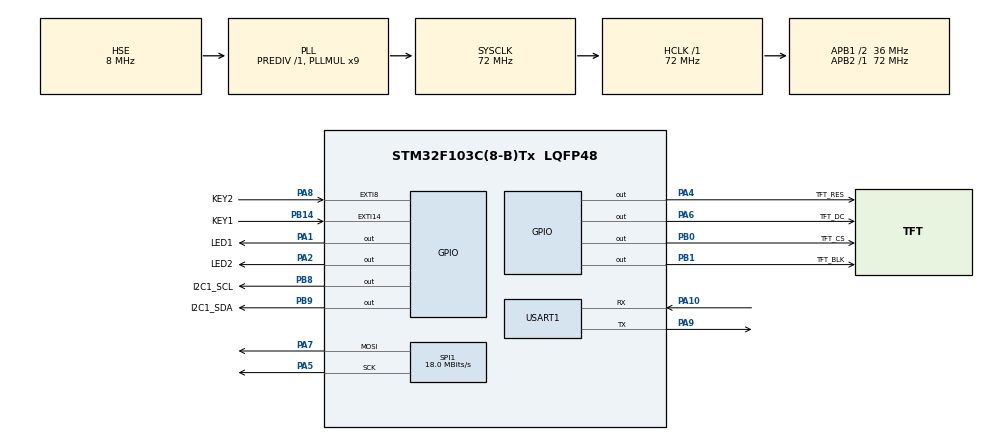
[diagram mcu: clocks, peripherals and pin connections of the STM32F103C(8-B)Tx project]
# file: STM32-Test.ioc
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Dma.Request0=USART1_RX
Dma.Request1=USART1_TX
Dma.USART1_RX.0.Direction=DMA_PERIPH_TO_MEMORY
Dma.USART1_RX.0.Instance=DMA1_Channel5
Dma.USART1_RX.0.MemDataAlignment=DMA_MDATAALIGN_BYTE
Dma.USART1_RX.0.MemInc=DMA_MINC_ENABLE
Dma.USART1_RX.0.Mode=DMA_NORMAL
Dma.USART1_RX.0.PeriphDataAlignment=DMA_PDATAALIGN_BYTE
Dma.USART1_RX.0.PeriphInc=DMA_PINC_DISABLE
Dma.USART1_RX.0.Priority=DMA_PRIORITY_LOW
Dma.USART1_TX.1.Direction=DMA_MEMORY_TO_PERIPH
Dma.USART1_TX.1.Instance=DMA1_Channel4
Dma.USART1_TX.1.MemDataAlignment=DMA_MDATAALIGN_BYTE
Dma.USART1_TX.1.MemInc=DMA_MINC_ENABLE
Dma.USART1_TX.1.Mode=DMA_NORMAL
Dma.USART1_TX.1.PeriphDataAlignment=DMA_PDATAALIGN_BYTE
Dma.USART1_TX.1.PeriphInc=DMA_PINC_DISABLE
Dma.USART1_TX.1.Priority=DMA_PRIORITY_LOW
Mcu.Family=STM32F1
Mcu.Name=STM32F103C(8-B)Tx
Mcu.Package=LQFP48
NVIC.DMA1_Channel4_IRQn=true\:0\:0\:false\:false\:true\:false\:true\:true
NVIC.DMA1_Channel5_IRQn=true\:0\:0\:false\:false\:true\:false\:true\:true
NVIC.EXTI15_10_IRQn=true\:10\:0\:true\:false\:true\:true\:true\:true
NVIC.EXTI9_5_IRQn=true\:13\:0\:true\:false\:true\:true\:true\:true
NVIC.PriorityGroup=NVIC_PRIORITYGROUP_4
NVIC.RCC_IRQn=true\:0\:0\:false\:false\:true\:true\:false\:true
NVIC.TIM2_IRQn=true\:0\:0\:false\:false\:true\:true\:true\:true
NVIC.TIM4_IRQn=true\:15\:0\:true\:false\:true\:false\:true\:true
NVIC.TimeBase=TIM4_IRQn
NVIC.TimeBaseIP=TIM4
NVIC.USART1_IRQn=true\:6\:0\:true\:false\:true\:true\:true\:true
PA1.GPIO_Label=LED1
PA1.GPIO_Speed=GPIO_SPEED_FREQ_HIGH
PA1.PinState=GPIO_PIN_RESET
PA1.Signal=GPIO_Output
PA10.Mode=Asynchronous
PA10.Signal=USART1_RX
PA13.Mode=Serial_Wire
PA13.Signal=SYS_JTMS-SWDIO
PA14.Mode=Serial_Wire
PA14.Signal=SYS_JTCK-SWCLK
PA2.GPIO_Label=LED2
PA2.GPIO_Speed=GPIO_SPEED_FREQ_HIGH
PA2.PinState=GPIO_PIN_RESET
PA2.Signal=GPIO_Output
PA4.GPIO_Label=TFT_RES
PA4.GPIO_Speed=GPIO_SPEED_FREQ_HIGH
PA4.PinState=GPIO_PIN_SET
PA4.Signal=GPIO_Output
PA5.Mode=TX_Only_Simplex_Unidirect_Master
PA5.Signal=SPI1_SCK
PA6.GPIO_Label=TFT_DC
PA6.GPIO_Speed=GPIO_SPEED_FREQ_HIGH
PA6.PinState=GPIO_PIN_SET
PA6.Signal=GPIO_Output
PA7.Mode=TX_Only_Simplex_Unidirect_Master
PA7.Signal=SPI1_MOSI
PA8.GPIO_Label=KEY2
PA8.GPIO_ModeDefaultEXTI=GPIO_MODE_IT_FALLING
PA8.GPIO_PuPd=GPIO_PULLUP
PA8.Signal=GPXTI8
PA9.Mode=Asynchronous
PA9.Signal=USART1_TX
PB0.GPIO_Label=TFT_CS
PB0.GPIO_Speed=GPIO_SPEED_FREQ_HIGH
PB0.PinState=GPIO_PIN_SET
PB0.Signal=GPIO_Output
PB1.GPIO_Label=TFT_BLK
PB1.GPIO_Speed=GPIO_SPEED_FREQ_HIGH
PB1.PinState=GPIO_PIN_SET
PB1.Signal=GPIO_Output
PB14.GPIO_Label=KEY1
PB14.GPIO_ModeDefaultEXTI=GPIO_MODE_IT_FALLING
PB14.GPIO_PuPd=GPIO_PULLUP
PB14.Signal=GPXTI14
PB8.GPIO_Label=I2C1_SCL
PB8.GPIO_ModeDefaultOutputPP=GPIO_MODE_OUTPUT_OD
PB8.GPIO_PuPd=GPIO_NOPULL
PB8.GPIO_Speed=GPIO_SPEED_FREQ_HIGH
PB8.PinState=GPIO_PIN_RESET
PB8.Signal=GPIO_Output
PB9.GPIO_Label=I2C1_SDA
PB9.GPIO_ModeDefaultOutputPP=GPIO_MODE_OUTPUT_OD
PB9.GPIO_PuPd=GPIO_NOPULL
PB9.GPIO_Speed=GPIO_SPEED_FREQ_HIGH
PB9.PinState=GPIO_PIN_RESET
PB9.Signal=GPIO_Output
PD0-OSC_IN.Mode=HSE-External-Oscillator
PD0-OSC_IN.Signal=RCC_OSC_IN
PD1-OSC_OUT.Mode=HSE-External-Oscillator
PD1-OSC_OUT.Signal=RCC_OSC_OUT
ProjectManager.HeapSize=0x1000
ProjectManager.StackSize=0x1000
ProjectManager.TargetToolchain=CMake
RCC.AHBFreq_Value=72000000
RCC.APB1CLKDivider=RCC_HCLK_DIV2
RCC.APB1Freq_Value=36000000
RCC.APB1TimFreq_Value=72000000
RCC.APB2Freq_Value=72000000
RCC.APB2TimFreq_Value=72000000
RCC.HCLKFreq_Value=72000000
RCC.PLLMUL=RCC_PLL_MUL9
RCC.PLLSourceVirtual=RCC_PLLSOURCE_HSE
RCC.SYSCLKFreq_VALUE=72000000
RCC.SYSCLKSource=RCC_SYSCLKSOURCE_PLLCLK
RCC.USBFreq_Value=72000000
SPI1.BaudRatePrescaler=SPI_BAUDRATEPRESCALER_4
SPI1.CLKPhase=SPI_PHASE_1EDGE
SPI1.CLKPolarity=SPI_POLARITY_LOW
SPI1.CRCCalculation=SPI_CRCCALCULATION_DISABLE
SPI1.CalculateBaudRate=18.0 MBits/s
SPI1.Direction=SPI_DIRECTION_2LINES
SPI1.Mode=SPI_MODE_MASTER
SPI1.VirtualType=VM_MASTER
TIM2.ClockDivision=TIM_CLOCKDIVISION_DIV1
TIM2.Period=10000-1
TIM2.Prescaler=7200-1
USART1.VirtualMode=VM_ASYNC
VP_SYS_VS_tim4.Mode=TIM4
VP_TIM2_VS_ClockSourceINT.Mode=Internal
board=custom

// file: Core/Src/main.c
/* USER CODE BEGIN Header */
/**
  ******************************************************************************
  * @file           : main.c
  * @brief          : Main program body
  ******************************************************************************
  * @attention
  *
  * Copyright (c) 2025 STMicroelectronics.
  * All rights reserved.
  *
  * This software is licensed under terms that can be found in the LICENSE file
  * in the root directory of this software component.
  * If no LICENSE file comes with this software, it is provided AS-IS.
  *
  ******************************************************************************
  */
/* USER CODE END Header */
#include "main.h"
#include "dma.h"
#include "spi.h"
#include "tim.h"
#include "usart.h"
#include "gpio.h"

/* USER CODE BEGIN Includes */
#include <stdio.h>
#include "lcd.h"
#include "stm32f1xx_hal_usart.h"

/* USER CODE END Includes */

void SystemClock_Config(void);

/* USER CODE BEGIN 0 */

uint8_t TX_DATA[] ="Send Data Successfully!\r\n";
uint8_t RX_DATA[100];
uint8_t RX_CpltFlag ;//中断标志
uint8_t RX_Status ;//中断状态

int __io_putchar(int ch) {
  HAL_UART_Transmit(&huart1, (uint8_t*)&ch, 1,1000);
  return ch;
}

void HAL_GPIO_EXTI_Callback(uint16_t GPIO_Pin)
{

  HAL_Delay(20);
  if (GPIO_Pin == KEY1_Pin && HAL_GPIO_ReadPin(KEY1_GPIO_Port, KEY1_Pin) == GPIO_PIN_RESET) {
    while (HAL_GPIO_ReadPin(KEY1_GPIO_Port, KEY1_Pin) == GPIO_PIN_RESET);
    led_toggle(1);
  }
  else if (GPIO_Pin == KEY2_Pin && HAL_GPIO_ReadPin(KEY2_GPIO_Port, KEY2_Pin) == GPIO_PIN_RESET) {
    while (HAL_GPIO_ReadPin(KEY2_GPIO_Port, KEY2_Pin) == GPIO_PIN_RESET);
    led_toggle(2);
  }
}

void HAL_UART_RxCpltCallback(UART_HandleTypeDef *huart) {
  if (huart->Instance == USART1) {
    led_toggle(1);
    HAL_UART_Transmit_DMA(&huart1, RX_DATA, sizeof(RX_DATA));
    RX_Status = HAL_UART_Receive_DMA(&huart1, RX_DATA, sizeof(RX_DATA));
  }
}

/**
  * @brief  UART Rx Event Callback，用于处理UART接收完成事件
  * @param  huart: UART handle pointer
  * @param  Size: 接收到的数据大小
  * @retval None
  */
void HAL_UARTEx_RxEventCallback(UART_HandleTypeDef *huart, uint16_t Size) {
  if (huart == &huart1) {
    HAL_UART_Transmit_DMA(&huart1, RX_DATA, Size);
    // 重新启动接收，以便继续接收下一批数据
    HAL_UARTEx_ReceiveToIdle_DMA(&huart1, RX_DATA, sizeof(RX_DATA));

    // 禁用DMA接收半传输中断，避免不必要的中断处理
    __HAL_DMA_DISABLE_IT(&hdma_usart1_rx, DMA_IT_HT);
  }

}

/* USER CODE END 0 */

int main(void)
{

  /* MCU Configuration--------------------------------------------------------*/

  /* Reset of all peripherals, Initializes the Flash interface and the Systick. */
  HAL_Init();

  /* Configure the system clock */
  SystemClock_Config();

  /* Initialize all configured peripherals */
  MX_GPIO_Init();
  MX_DMA_Init();
  MX_USART1_UART_Init();
  MX_TIM2_Init();
  MX_SPI1_Init();
  /* USER CODE BEGIN 2 */

  // HAL_UART_Receive_DMA(&huart1,RX_DATA,sizeof(RX_DATA));

  // 启动UART1的空闲中断DMA接收，用于接收不定长数据
  HAL_UARTEx_ReceiveToIdle_DMA(&huart1,RX_DATA,sizeof(RX_DATA));
  // 禁用DMA接收半传输中断，避免不必要的中断处理
  __HAL_DMA_DISABLE_IT(&hdma_usart1_rx, DMA_IT_HT);

  //检测复位
  if (__HAL_RCC_GET_FLAG(RCC_FLAG_IWDGRST) != RESET) {
    printf("IWDOG Rest!\r\n");
    __HAL_RCC_CLEAR_RESET_FLAGS();//清除复位标志
  } else {
    printf("Other Rest!\r\n");
  }

  HAL_TIM_Base_Start_IT(&htim2);
  /* USER CODE END 2 */

  /* Infinite loop */
  /* USER CODE BEGIN WHILE */
  LCD_Init();

  while (1)
  {
    /* USER CODE END WHILE */

    /* USER CODE BEGIN 3 */

    LCD_Fill(0,0,LCD_W,LCD_H,RED);
    HAL_Delay(10);
    LCD_Fill(0,0,LCD_W,LCD_H,GREEN);
    HAL_Delay(10);
    LCD_Fill(0,0,LCD_W,LCD_H,BLUE);
    HAL_Delay(10);

    led_toggle(1);
    HAL_Delay(500);

    //串口打印
    // if ((RX_CpltFlag == 1)&&(RX_Status != HAL_BUSY)) {
    //   for (int i = 0; i < sizeof(RX_DATA); i++) {
    //     printf("RX_DATA[%d]:0x%02x\r\n", i, RX_DATA[i]);
    //
    //     }
    //   printf("\r\n");
    //   RX_CpltFlag = 0;
    // }

  }
  /* USER CODE END 3 */
}

void SystemClock_Config(void)
{
  RCC_OscInitTypeDef RCC_OscInitStruct = {0};
  RCC_ClkInitTypeDef RCC_ClkInitStruct = {0};

  /** Initializes the RCC Oscillators according to the specified parameters
  * in the RCC_OscInitTypeDef structure.
  */
  RCC_OscInitStruct.OscillatorType = RCC_OSCILLATORTYPE_HSE;
  RCC_OscInitStruct.HSEState = RCC_HSE_ON;
  RCC_OscInitStruct.HSEPredivValue = RCC_HSE_PREDIV_DIV1;
  RCC_OscInitStruct.HSIState = RCC_HSI_ON;
  RCC_OscInitStruct.PLL.PLLState = RCC_PLL_ON;
  RCC_OscInitStruct.PLL.PLLSource = RCC_PLLSOURCE_HSE;
  RCC_OscInitStruct.PLL.PLLMUL = RCC_PLL_MUL9;
  if (HAL_RCC_OscConfig(&RCC_OscInitStruct) != HAL_OK)
  {
    Error_Handler();
  }

  /** Initializes the CPU, AHB and APB buses clocks
  */
  RCC_ClkInitStruct.ClockType = RCC_CLOCKTYPE_HCLK|RCC_CLOCKTYPE_SYSCLK
                              |RCC_CLOCKTYPE_PCLK1|RCC_CLOCKTYPE_PCLK2;
  RCC_ClkInitStruct.SYSCLKSource = RCC_SYSCLKSOURCE_PLLCLK;
  RCC_ClkInitStruct.AHBCLKDivider = RCC_SYSCLK_DIV1;
  RCC_ClkInitStruct.APB1CLKDivider = RCC_HCLK_DIV2;
  RCC_ClkInitStruct.APB2CLKDivider = RCC_HCLK_DIV1;

  if (HAL_RCC_ClockConfig(&RCC_ClkInitStruct, FLASH_LATENCY_2) != HAL_OK)
  {
    Error_Handler();
  }
}

void HAL_TIM_PeriodElapsedCallback(TIM_HandleTypeDef *htim)
{
  if (htim->Instance == TIM4)
  {
    HAL_IncTick();
  }
}

void Error_Handler(void)
{
  __disable_irq();
  while (1)
  {
  }
}
